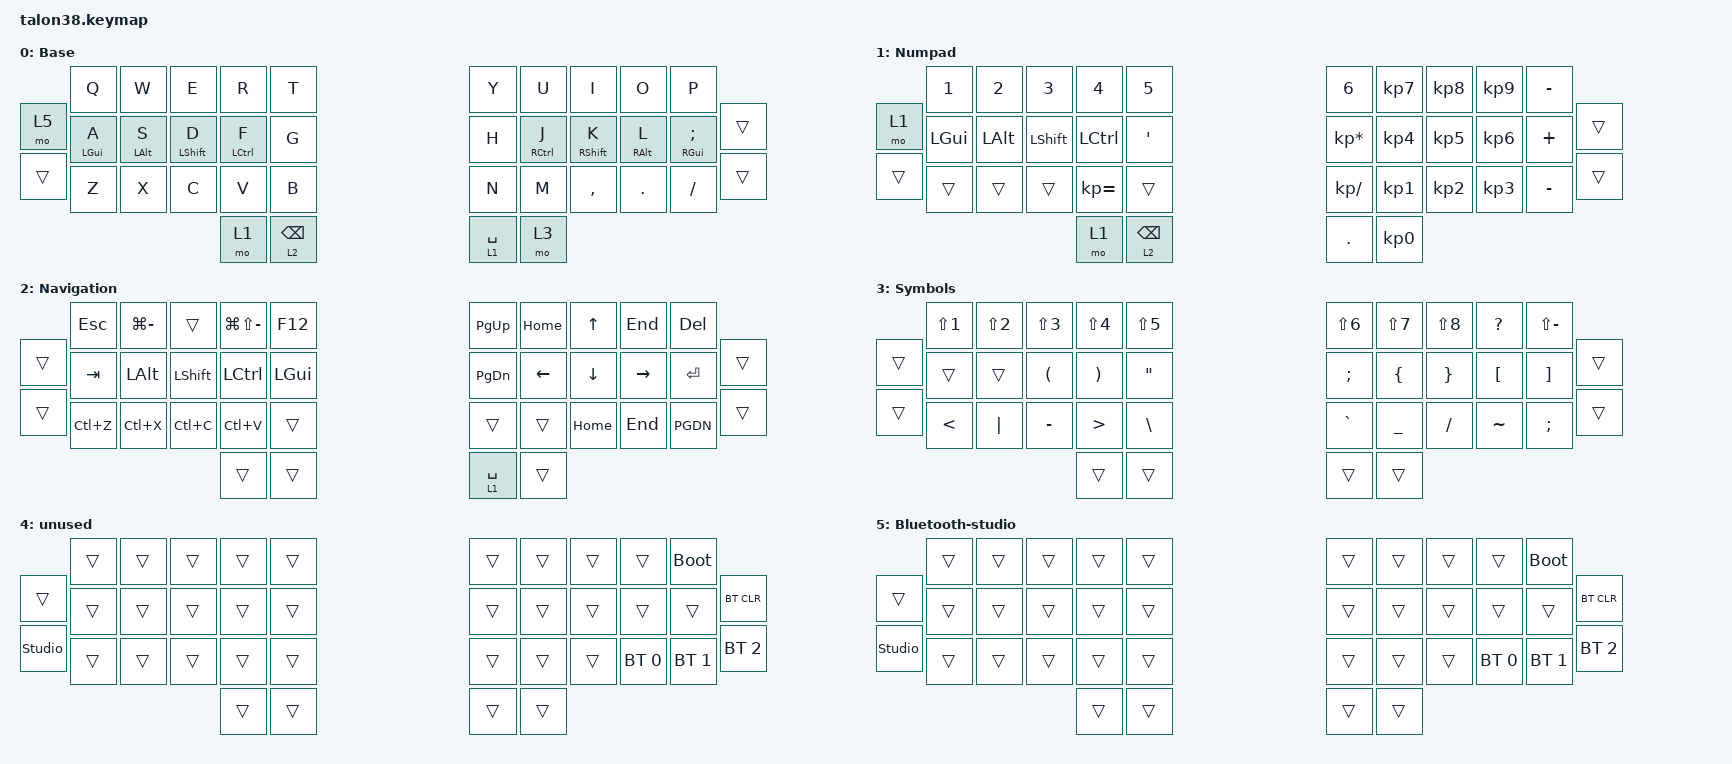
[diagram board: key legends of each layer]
#include <behaviors.dtsi>
#include <dt-bindings/zmk/keys.h>
#include <dt-bindings/zmk/bt.h>

/ {
    combos {
        compatible = "zmk,combos";

        combo_capsword {
            timeout-ms = <50>;
            key-positions = <13 18>; // D + K
            bindings = <&caps_word>;
        };
        combo_equal {
            timeout-ms = <50>;
            key-positions = <19 20>; // L + SEMI
            bindings = <&kp EQUAL>;
        };
        combo_quote {
            timeout-ms = <50>;
            key-positions = <8 9>; // F + G
            bindings = <&kp SQT>;
        };
        combo_lparen {
            timeout-ms = <50>;
            key-positions = <17 18>; // J + K
            layers = <0>;
            bindings = <&kp LPAR>;
        };
        combo_rparen {
            timeout-ms = <50>;
            key-positions = <18 19>; // K + L
            layers = <0>;
            bindings = <&kp RPAR>;
        };
        combo_lt {
            timeout-ms = <50>;
            key-positions = <17 18>; // J + K
            layers = <3>; // Symbols layer
            bindings = <&kp LT>;
        };
        combo_gt {
            timeout-ms = <50>;
            key-positions = <18 19>; // K + L
            layers = <3>; // Symbols layer
            bindings = <&kp GT>;
        };
        combo_lbrace {
            timeout-ms = <50>;
            key-positions = <29 30>; // M + COMMA
            layers = <0>; // Base layer
            bindings = <&kp LBRC>;
        };
        combo_rbrace {
            timeout-ms = <50>;
            key-positions = <30 31>; // COMMA + DOT
            layers = <0>; // Base layer
            bindings = <&kp RBRC>;
        };
        combo_lbkt {
            timeout-ms = <50>;
            key-positions = <17 18>; // J + K
            layers = <3>; // Symbols layer
            bindings = <&kp LBKT>;
        };
        combo_rbkt {
            timeout-ms = <50>;
            key-positions = <18 19>; // K + L
            layers = <3>; // Symbols layer
            bindings = <&kp RBKT>;
        };
    };
    behaviors {    
        hml: home_row_mod_left {
            compatible = "zmk,behavior-hold-tap";
            display-name = "Home Row Mod Left Hand";
            #binding-cells = <2>;
            flavor = "balanced";
            require-prior-idle-ms = <150>;
            tapping-term-ms = <280>;
            quick-tap-ms = <175>;
            bindings = <&kp>, <&kp>;
            hold-trigger-key-positions = <5 6 7 8 9 16 17 18 19 20 21 28 29 30 31 32 33 36 37>; // List of keys on the right side of the keyboard
            hold-trigger-on-release;
        };
        hmr: home_row_mod_right {
            compatible = "zmk,behavior-hold-tap";
            display-name = "Home Row Mod Right Hand";
            #binding-cells = <2>;
            flavor = "balanced";
            require-prior-idle-ms = <150>;
            tapping-term-ms = <280>;
            quick-tap-ms = <175>;
            bindings = <&kp>, <&kp>;
            hold-trigger-key-positions = <0 1 2 3 4 10 11 12 13 14 15 22 23 24 25 26 27 34 35>; // List of keys on the left side of the keyboard
            hold-trigger-on-release;
        };
        ltrb: layer_tap_repeat_balanced {
            compatible = "zmk,behavior-hold-tap";
            display-name = "Balanced Layer Tap w/Repeat";
            flavor = "balanced";
            #binding-cells = <2>;
            tapping-term-ms = <200>;
            quick-tap-ms = <150>;
            bindings = <&mo>, <&kp>;

        };
        ltr: layer_tap_repeat {
            compatible = "zmk,behavior-hold-tap";
            display-name = "Layer Tap w/Repeat";
            flavor = "balanced";
            #binding-cells = <2>;
            tapping-term-ms = <200>;
            quick-tap-ms = <150>;
            bindings = <&mo>, <&kp>;
        };
    };

    keymap {
        compatible = "zmk,keymap";

             default_layer { // Layer 0
                display-name = "Base";
                bindings = <
                            &kp Q       &kp W       &kp E       &kp R       &kp T   &kp Y   &kp U         &kp I         &kp O       &kp P           
                    &mo 5   &hml LGUI A  &hml LALT S   &hml LSHFT D &hml LCTRL F &kp G   &kp H    &hmr RCTRL J   &hmr RSHFT K   &hmr RALT L  &hmr RGUI SEMI   &trans
                    &trans  &kp Z       &kp X       &kp C       &kp V       &kp B   &kp N   &kp M         &kp COMMA     &kp DOT     &kp SLASH       &trans
                                                                &mo 1  &ltrb 2 BSPC   &ltrb 1 SPACE &mo 3
                >;
            };

            numpad_layer { // Layer 1
                display-name = "Numpad";
                bindings = <
                            &kp N1      &kp N2     &kp N3     &kp N4     &kp N5     &kp N6            &kp KP_N7  &kp  KP_N8 &kp KP_N9  &kp MINUS           
                    &mo 1   &kp LGUI    &kp LALT   &kp LSHFT  &kp LCTRL  &kp SQT    &kp KP_ASTERISK   &kp KP_N4  &kp  KP_N5 &kp KP_N6  &kp PLUS   &trans
                    &trans  &trans      &trans     &trans     &kp KP_EQUAL     &trans     &kp KP_SLASH      &kp KP_N1  &kp  KP_N2 &kp KP_N3  &kp MINUS  &trans
                                                              &mo 1   &ltr 2 BSPC   &kp DOT &kp KP_N0 
                >;
            };

            navigation_layer { // Layer 2
                display-name = "Navigation";
                bindings = <
                            &kp ESC    &kp LG(MINUS)  &trans     &kp LG(LS(MINUS))  &kp F12  /**/ &kp PG_UP &kp HOME    &kp UP     &kp END     &kp DEL             
                    &trans  &kp TAB    &kp LALT       &kp LSHFT  &kp LCTRL          &kp LGUI /**/ &kp PG_DN   &kp LEFT  &kp DOWN  &kp RIGHT  &kp ENTER   &trans
                    &trans  &kp LC(Z)  &kp LC(X)      &kp LC(C)  &kp LC(V)          &trans   /**/ &trans      &trans   &kp HOME  &kp END   &kp PGDN  &trans
                                                                 &trans             &trans   /**/ &lt 1 SPACE &trans
                >;
            };

            symbol_layer { // Layer 3
                display-name = "Symbols";
                bindings = <
                            &kp LS(N1)    &kp LS(N2) &kp LS(N3)  &kp LS(N4)  &kp LS(N5)  /**/ &kp LS(N6)   &kp LS(N7)     &kp LS(N8)     &kp QMARK    &kp LS(MINUS)          
                    &trans  &trans    &trans    &kp LPAR  &kp RPAR          &kp DQT /**/ &kp SEMI   &kp LBRC  &kp RBRC  &kp LBKT  &kp RBKT   &trans
                    &trans  &kp LT  &kp PIPE    &kp MINUS  &kp GT        &kp BSLH   /**/ &kp GRAVE     &kp UNDER   &kp SLASH  &kp TILDE   &kp SEMI  &trans
                                                                 &trans             &trans   /**/ &trans &trans
                >;
            };

            unused_layer { // Layer 4
                display-name = "unused";
                bindings = <
                           &trans &trans &trans &trans &trans   &trans &trans &trans &trans &bootloader
                    &trans &trans &trans &trans &trans &trans   &trans &trans &trans &trans &trans &bt BT_CLR
                    &studio_unlock &trans &trans &trans &trans &trans   &trans &trans &trans &bt BT_SEL 0 &bt BT_SEL 1 &bt BT_SEL 2
                                                &trans &trans   &trans &trans
                >;
            };

            bt_layer { // Layer 5
                display-name = "Bluetooth-studio";
                bindings = <
                           &trans &trans &trans &trans &trans   &trans &trans &trans &trans &bootloader
                    &trans &trans &trans &trans &trans &trans   &trans &trans &trans &trans &trans &bt BT_CLR
                    &studio_unlock &trans &trans &trans &trans &trans   &trans &trans &trans &bt BT_SEL 0 &bt BT_SEL 1 &bt BT_SEL 2
                                                &trans &trans   &trans &trans
                >;
            };
       
    };
};
